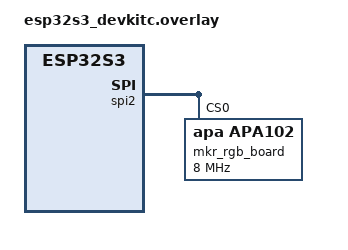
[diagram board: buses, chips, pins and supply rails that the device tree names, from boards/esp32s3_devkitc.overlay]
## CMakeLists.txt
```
# SPDX-License-Identifier: Apache-2.0

cmake_minimum_required(VERSION 3.20.0)

find_package(Zephyr REQUIRED HINTS $ENV{ZEPHYR_BASE})
project(picow_mkr_rgb)

target_sources(app PRIVATE src/main.c)
```

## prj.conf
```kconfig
#CDC specific configurations
#CONFIG_USB_DEVICE_STACK=y
#CONFIG_USB_DEVICE_PRODUCT="RPi Pico USB Serial Console"
#CONFIG_USB_DEVICE_VID=0001
#CONFIG_CONSOLE=y

#GPIO specific configurations
CONFIG_GPIO=y #Enables the use of GPIO pins

#Sensor specific configurations
CONFIG_SPI=y
CONFIG_APA102_STRIP=y
CONFIG_LED_STRIP=y

#UART specific configurations - also required for CDC ACM
CONFIG_SERIAL=y # Enable options for serial drivers
CONFIG_UART_CONSOLE=y # Sets the default for printk and printf to output to the UART serial console
CONFIG_UART_LINE_CTRL=y # This enables the API for apps to control the serial line, such as baud rate, CTS and RTS.
```

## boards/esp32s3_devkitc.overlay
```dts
#include <zephyr/dt-bindings/led/led.h>

/ {
    chosen {
        zephyr,console = &uart0;
    };
};

&spi2 {
    status = "okay";
    pinctrl-0 = <&spim2_default>;
    pinctrl-names = "default";

    mkr_rgb_board: apa102@0 {
        compatible = "apa,apa102";
        reg = <0>;                       /* CS line */
        spi-max-frequency = <8000000>;
        chain-length = <84>;
        spi-cpol;
        spi-cpha;
        color-mapping = <
            LED_COLOR_ID_RED
            LED_COLOR_ID_GREEN
            LED_COLOR_ID_BLUE
        >;
        status = "okay";
    };
};
```

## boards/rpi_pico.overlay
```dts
#include <zephyr/dt-bindings/led/led.h>

/ {
    chosen {
        zephyr,console = &cdc_acm_uart0;
    };
};

&spi0 {
    status = "okay";
    pinctrl-0 = <&spi0_default>;
    pinctrl-names = "default";

    mkr_rgb_board: apa102@0 {
        compatible = "apa,apa102";
        reg = <0>;                       /* CS line */
        spi-max-frequency = <8000000>;
        chain-length = <84>;
        spi-cpol;
        spi-cpha;
        color-mapping = <
            LED_COLOR_ID_RED
            LED_COLOR_ID_GREEN
            LED_COLOR_ID_BLUE
        >;
        status = "okay";
    };
};

&zephyr_udc0 {
    cdc_acm_uart0: cdc_acm_uart0 {
        compatible = "zephyr,cdc-acm-uart";
        label = "CDC_ACM_0";
        status = "okay";
    };
};
```

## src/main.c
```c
#include <zephyr/kernel.h>
#include <zephyr/usb/usb_device.h>
#include <zephyr/drivers/uart.h>
#include <zephyr/device.h>
#include <zephyr/drivers/led_strip.h>

#define NUM_LEDS 84

static struct led_rgb pixels[NUM_LEDS];

static const struct device *usb_acm = DEVICE_DT_GET(DT_CHOSEN(zephyr_console));
static const struct device *strip = DEVICE_DT_GET(DT_NODELABEL(mkr_rgb_board));

int main(void) {
    int ret;

    if (!device_is_ready(usb_acm)) {
        printk("CDC ACM device not ready\r\n");
        return 0;
    }

    // Enable USB device
    ret = usb_enable(NULL);
    if (ret != 0) {
        printk("Failed to enable USB\r\n");
        return 0;
    }

    for (int i = 0; i < NUM_LEDS; i++) {
        pixels[i].r = 0x10;
        pixels[i].g = 0x00;
        pixels[i].b = 0x20;
    }

    led_strip_update_rgb(strip, pixels, NUM_LEDS);

    return 0;
}
```
